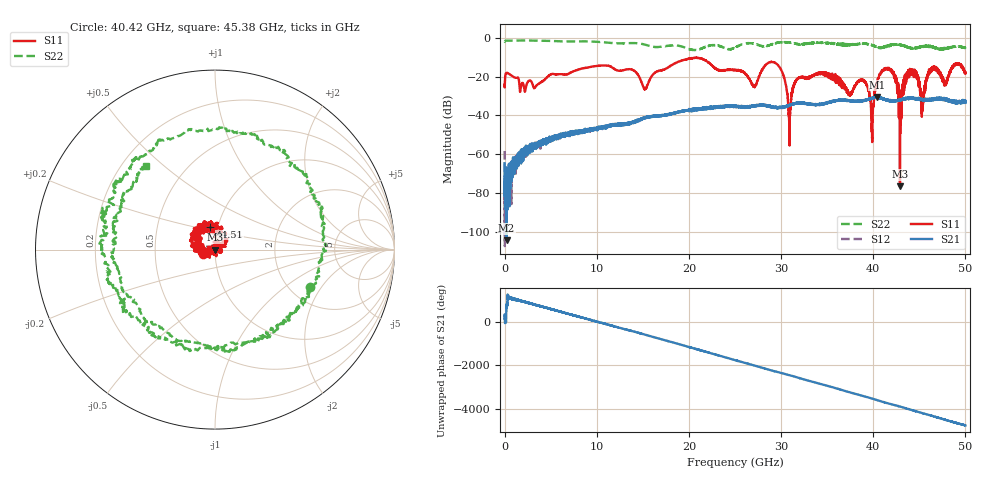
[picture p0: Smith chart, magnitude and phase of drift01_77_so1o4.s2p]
!Created with skrf (http://scikit-rf.org).
# Hz S RI R 50.0
!freq ReS11 ImS11 ReS21 ImS21 ReS12 ImS12 ReS22 ImS22
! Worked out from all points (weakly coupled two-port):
!   10001 points, 300 kHz to 50 GHz, reference 50 ohm
!   highest |S21| = -30.51 dB at 40.41 GHz (marker M1); lowest = -104.5 dB at 220.3 MHz (marker M2)
!   lowest |S11| = -76.7 dB at 42.9 GHz (marker M3), VSWR 1.00, Z = 50 + j0.0135 ohm
!   |S11| at or under -10 dB: start of sweep to end of sweep
!   |S22| runs from -6.4 to -1.4 dB; largest |S21 - S12| = 0.004
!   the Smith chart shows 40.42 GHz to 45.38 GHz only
!   S11 on the Smith chart (normalised r, x): 40.42 GHz: 0.87, -0.04; 44.51 GHz: 0.92, +0.24; 45.38 GHz: 0.95, +0.01
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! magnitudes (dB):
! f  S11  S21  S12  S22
! 300 kHz  -24.1  -64.7  -58.4  -2.1
! 220.3 MHz  -18.1  -104.5  -73.6  -1.4
! 2.735 GHz  -22.0  -56.1  -56.5  -1.4
! 8.335 GHz  -15.9  -47.7  -48.5  -1.8
! 15.23 GHz  -26.5  -41.3  -41.3  -3.5
! 16.67 GHz  -17.1  -40.3  -40.3  -4.8
! 25 GHz  -16.5  -35.3  -35.2  -5.0
! 27.09 GHz  -25.1  -35.0  -35.3  -3.0
! 29.44 GHz  -13.2  -35.7  -35.7  -2.8
! 30.92 GHz  -55.6  -35.0  -34.8  -2.5
! 31.7 GHz  -21.7  -33.7  -33.9  -3.3
! 33.34 GHz  -19.8  -34.2  -34.2  -2.7
! 38.91 GHz  -21.9  -32.3  -32.5  -3.1
! 39.86 GHz  -48.0  -31.0  -31.1  -3.7
! 40.41 GHz  -23.2  -30.5  -30.9  -4.9
! 40.42 GHz  -23.1  -30.7  -30.8  -4.9
! 41.67 GHz  -15.6  -32.1  -32.4  -4.0
! 42.9 GHz  -76.7  -32.0  -32.0  -3.7
! 44.51 GHz  -17.6  -31.3  -31.3  -5.1
! 45.38 GHz  -31.0  -32.3  -31.9  -4.4
! 46.41 GHz  -15.0  -31.8  -31.7  -4.9
! 50 GHz  -17.8  -33.6  -33.0  -5.2
